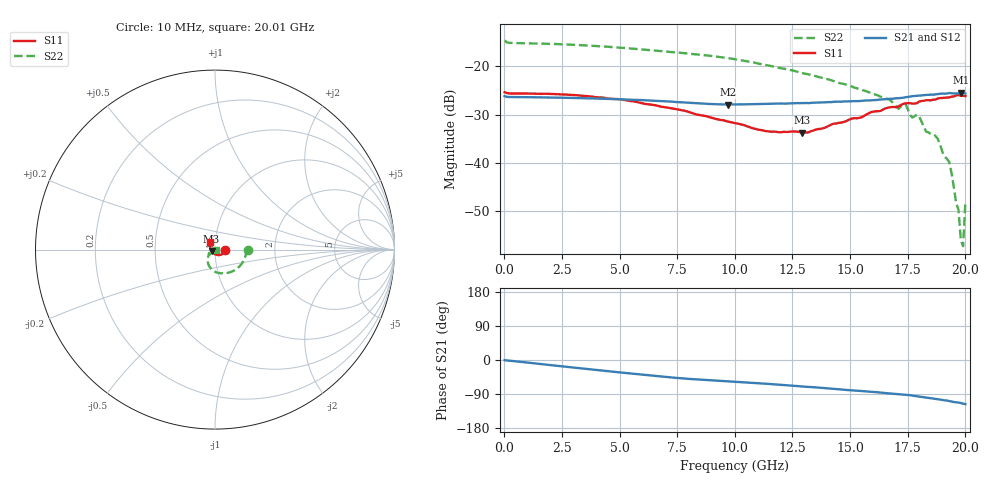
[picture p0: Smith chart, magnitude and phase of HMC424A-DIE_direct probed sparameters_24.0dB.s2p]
!s2p File: Measurements: S11, S21, S12, S22
# GHz S dB R 50.0
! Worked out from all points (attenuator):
!   201 points, 10 MHz to 20.01 GHz, reference 50 ohm
!   highest |S21| = -25.43 dB at 19.81 GHz (marker M1); lowest = -27.9 dB at 9.71 GHz (marker M2)
!   lowest |S11| = -33.7 dB at 12.91 GHz (marker M3), VSWR 1.04, Z = 48.1 - j0.808 ohm
!   |S11| at or under -10 dB: start of sweep to end of sweep
!   |S22| runs from -57.2 to -14.6 dB; largest |S21 - S12| = 0.00057
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0.01  -25.33 -0.1  -26.14 -0.4  -26.17 -0.4  -14.62 -1.2
3.41  -26.08 -24.0  -26.56 -22.6  -26.56 -22.6  -15.62 -34.2
6.71  -28.22 -52.0  -27.15 -42.9  -27.14 -42.9  -16.78 -64.7
9.71  -31.40 -88.1  -27.87 -56.2  -27.86 -56.2  -18.28 -91.2
10.01  -31.73 -92.3  -27.87 -57.3  -27.86 -57.3  -18.49 -93.9
11.31  -33.34 -118.1  -27.75 -62.4  -27.74 -62.5  -19.67 -104.7
12.91  -33.70 -156.0  -27.57 -69.7  -27.56 -69.7  -21.34 -116.5
13.41  -33.26 -167.9  -27.50 -71.7  -27.51 -71.7  -21.90 -119.8
16.71  -28.47 138.8  -26.69 -88.1  -26.67 -88.1  -26.86 -141.0
17.11  -28.25 136.9  -26.57 -90.3  -26.49 -90.4  -28.78 -140.4
17.41  -27.63 133.5  -26.36 -91.6  -26.38 -92.2  -27.78 -145.8
17.71  -27.70 129.6  -26.14 -94.0  -26.18 -94.3  -30.58 -144.1
17.91  -27.58 129.1  -26.07 -95.9  -26.11 -95.8  -29.98 -145.8
18.31  -26.98 124.4  -25.89 -99.2  -25.92 -99.1  -33.51 -151.7
18.81  -26.63 123.7  -25.69 -103.3  -25.72 -103.1  -34.95 -152.3
19.01  -26.51 121.9  -25.61 -105.5  -25.64 -105.4  -37.69 -154.4
19.31  -26.40 121.8  -25.50 -108.3  -25.48 -108.3  -39.82 -154.1
19.61  -25.98 121.6  -25.60 -111.7  -25.63 -111.5  -48.28 -140.6
19.71  -25.93 120.9  -25.57 -112.3  -25.58 -112.1  -49.62 -141.0
19.81  -26.05 119.8  -25.43 -113.6  -25.44 -113.5  -55.83 -113.2
19.91  -26.10 120.5  -25.51 -115.2  -25.52 -115.1  -57.18 -37.2
20.01  -26.13 121.9  -25.60 -116.4  -25.58 -116.3  -48.01 -11.0
